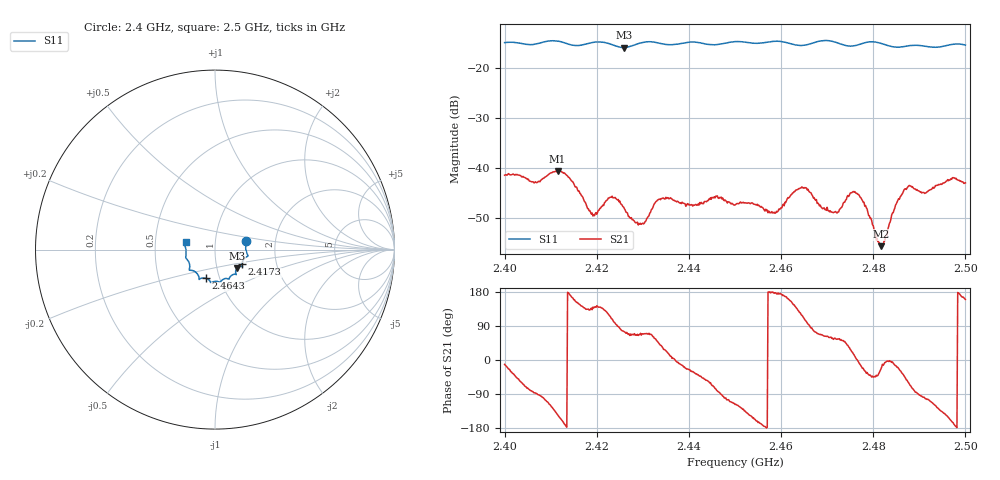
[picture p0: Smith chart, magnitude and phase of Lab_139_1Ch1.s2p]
# Hz S RI R 50
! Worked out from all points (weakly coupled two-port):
!   601 points, 2.4 GHz to 2.5 GHz, reference 50 ohm
!   highest |S21| = -40.54 dB at 2.4115 GHz (marker M1); lowest = -55.6 dB at 2.4817 GHz (marker M2)
!   lowest |S11| = -15.9 dB at 2.4258 GHz (marker M3), VSWR 1.38, Z = 62.3 - j13.3 ohm
!   |S11| at or under -10 dB: start of sweep to end of sweep
!   S12 and S22 are empty: the file has one direction only
!   S11 on the Smith chart (normalised r, x): 2.4 GHz: 1.41, +0.14; 2.4173 GHz: 1.34, -0.22; 2.4643 GHz: 0.86, -0.28; 2.5 GHz: 0.72, +0.06
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2.4e9  0.1724 0.0493  0.00833 -0.00171  0 0  0 0
2.406667e9  0.1728 -0.00612  0.000391 -0.00731  0 0  0 0
2.4115e9  0.1818 -0.0371  -0.00763 -0.00549  0 0  0 0
2.416667e9  0.1522 -0.0743  -0.00422 0.00324  0 0  0 0
2.417333e9  0.1513 -0.0815  -0.00343 0.00314  0 0  0 0
2.419167e9  0.1529 -0.0952  -0.00253 0.00216  0 0  0 0
2.423e9  0.1457 -0.0937  -0.00204 0.0047  0 0  0 0
2.425833e9  0.1221 -0.1036  0.000995 0.00396  0 0  0 0
2.429833e9  0.1171 -0.1358  0.000997 0.0026  0 0  0 0
2.433333e9  0.1126 -0.1374  0.00332 0.00351  0 0  0 0
2.45e9  0.0292 -0.1812  -0.00196 -0.00381  0 0  0 0
2.458667e9  -0.0217 -0.1836  -0.00354 0.000167  0 0  0 0
2.464333e9  -0.0496 -0.1601  -0.00319 0.00549  0 0  0 0
2.466667e9  -0.0756 -0.1594  0.000514 0.00541  0 0  0 0
2.471667e9  -0.0878 -0.1592  0.00194 0.00309  0 0  0 0
2.4765e9  -0.1218 -0.1173  0.0056 9.03e-05  0 0  0 0
2.481667e9  -0.1419 -0.1047  0.00152 -0.000673  0 0  0 0
2.483333e9  -0.1407 -0.0897  0.0026 -0.000172  0 0  0 0
2.485e9  -0.1445 -0.0718  0.00423 -0.0012  0 0  0 0
2.4875e9  -0.1577 -0.0527  0.00351 -0.00546  0 0  0 0
2.491e9  -0.1622 -0.0344  -0.000781 -0.00565  0 0  0 0
2.5e9  -0.1643 0.0428  -0.00669 0.00249  0 0  0 0
